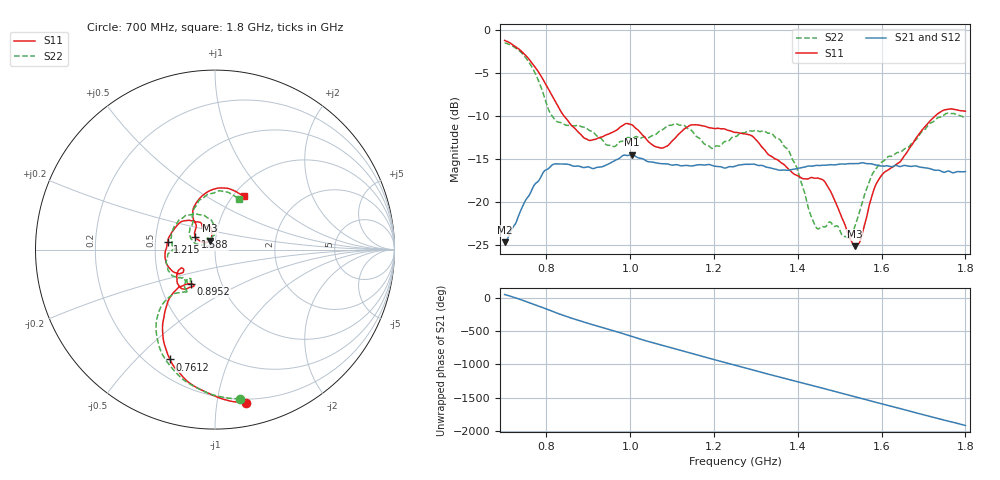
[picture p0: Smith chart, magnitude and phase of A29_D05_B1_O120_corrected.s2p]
! Created with skrf 1.9.0 (http://scikit-rf.org).
# Hz S RI R 50.0
!freq ReS11 ImS11 ReS21 ImS21 ReS12 ImS12 ReS22 ImS22
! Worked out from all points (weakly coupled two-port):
!   1601 points, 700 MHz to 1.8 GHz, reference 50 ohm
!   highest |S21| = -14.46 dB at 1.003 GHz (marker M1); lowest = -24.6 dB at 700 MHz (marker M2)
!   lowest |S11| = -25.1 dB at 1.536 GHz (marker M3), VSWR 1.12, Z = 47.2 + j4.64 ohm
!   |S11| at or under -10 dB: 842.1 MHz to 1.727 GHz (885.1 MHz wide, 68.9 % of centre)
!   |S22| runs from -24.2 to -1.5 dB; largest |S21 - S12| = 0.0035
!   S11 on the Smith chart (normalised r, x): 700 MHz: 0.17, -1.21; 761.2 MHz: 0.29, -0.63; 895.2 MHz: 0.72, -0.29; 1.215 GHz: 0.58, +0.06; 1.588 GHz: 0.80, +0.11; 1.8 GHz: 1.12, +0.75
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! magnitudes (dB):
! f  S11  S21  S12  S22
! 700 MHz  -1.2  -24.6  -24.4  -1.5
! 761.2 MHz  -3.6  -19.0  -18.9  -4.0
! 818.2 MHz  -8.0  -15.6  -15.7  -10.3
! 883.6 MHz  -12.2  -15.9  -15.8  -11.2
! 895.2 MHz  -12.6  -15.9  -16.0  -11.4
! 946.8 MHz  -12.1  -15.6  -15.6  -13.4
! 1.003 GHz  -11.0  -14.5  -14.6  -12.6
! 1.067 GHz  -13.6  -15.5  -15.4  -11.8
! 1.144 GHz  -11.0  -15.8  -15.8  -11.6
! 1.215 GHz  -11.5  -15.9  -15.9  -13.5
! 1.25 GHz  -11.9  -15.8  -15.7  -12.4
! 1.358 GHz  -15.3  -16.3  -16.2  -12.8
! 1.396 GHz  -16.8  -16.1  -16.1  -15.8
! 1.434 GHz  -17.1  -15.8  -15.8  -21.8
! 1.468 GHz  -17.9  -15.7  -15.7  -22.8
! 1.521 GHz  -23.8  -15.5  -15.5  -24.2
! 1.536 GHz  -25.1  -15.5  -15.5  -22.8
! 1.55 GHz  -24.4  -15.4  -15.5  -20.7
! 1.588 GHz  -17.8  -15.7  -15.7  -16.0
! 1.617 GHz  -16.2  -15.8  -15.8  -14.7
! 1.734 GHz  -9.7  -16.3  -16.3  -10.2
! 1.8 GHz  -9.4  -16.4  -16.4  -10.1
